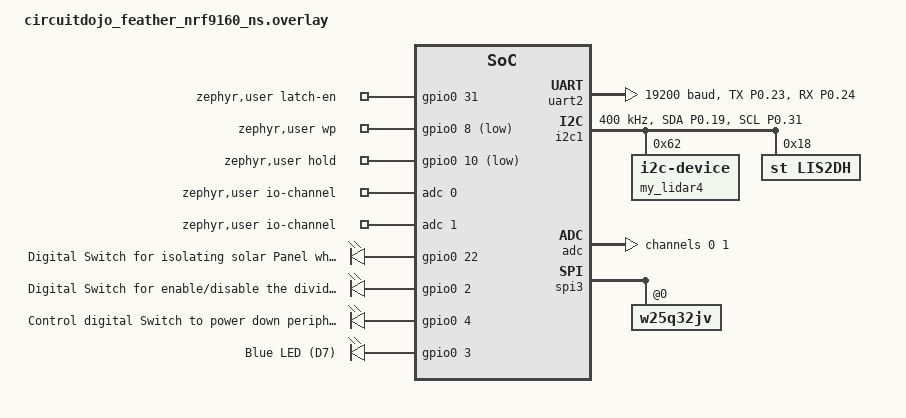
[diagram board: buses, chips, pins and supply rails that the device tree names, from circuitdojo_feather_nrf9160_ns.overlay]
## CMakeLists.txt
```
cmake_minimum_required(VERSION 3.20.0)
find_package(Zephyr REQUIRED HINTS $ENV{ZEPHYR_BASE})

project(flute_iridium_lidar)

include_directories("include/")

target_include_directories(app PRIVATE src)

target_sources(app PRIVATE 
                        src/main.c src/iridium_uart.c src/astar_diurnal.c src/switch_opencircuit.c 
                        src/read_Vpv.c src/read_Vcap.c src/read_Vsupply.c 
                        src/switch_Vpv_divider.c src/switch_peripheral_power.c
                        src/i2c_sensor4.c src/lowpower.c 
                        )
```

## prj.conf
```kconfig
# Stacks and heaps
CONFIG_MAIN_STACK_SIZE=8192
CONFIG_HEAP_MEM_POOL_SIZE=16384
CONFIG_WATCHDOG=n

CONFIG_BOOTLOADER_MCUBOOT=y

CONFIG_REBOOT=y
CONFIG_DEBUG=n
CONFIG_NEWLIB_LIBC=y
CONFIG_NEWLIB_LIBC_FLOAT_PRINTF=y

CONFIG_GPIO=y
CONFIG_ADC=y
CONFIG_ADC_NRFX_SAADC=y

# Add the accelerometer
CONFIG_SENSOR=y
CONFIG_LIS2DH=y

CONFIG_I2C=y
CONFIG_CBPRINTF_FP_SUPPORT=y

CONFIG_LIS2DH_TRIGGER_GLOBAL_THREAD=y
CONFIG_LIS2DH_ODR_RUNTIME=y

CONFIG_SPI=y
CONFIG_SPI_NOR=y
CONFIG_SPI_NOR_FLASH_LAYOUT_PAGE_SIZE=4096
CONFIG_SPI_NOR_IDLE_IN_DPD=y

CONFIG_UART_ASYNC_API=y

CONFIG_FLASH=y
CONFIG_FLASH_MAP=y
CONFIG_FLASH_PAGE_LAYOUT=y

CONFIG_LOG=y
CONFIG_CBPRINTF_FP_SUPPORT=y
CONFIG_NEWLIB_LIBC=y
CONFIG_SERIAL=y
CONFIG_UART_CONSOLE=y
CONFIG_LOG_BACKEND_UART=y
CONFIG_SERIAL=y
# Async UART (required for uart_callback_set / uart_tx / uart_rx_enable)
CONFIG_UART_ASYNC_API=y
# CONFIG_LOG_PRINTK=n

# To print LOG messages immediately
CONFIG_LOG_BACKEND_UART_ASYNC=n      # Force sync UART for logs
CONFIG_LOG_MODE_IMMEDIATE=y          # Process logs immediately (for debugging)
# Explicitly set INF level
CONFIG_LOG_DEFAULT_LEVEL=3
CONFIG_LOG=y
# CONFIG_LOG_MODE_DEFERRED=n
# CONFIG_LOG_PROCESS_THREAD=y
# CONFIG_LOG_PROCESS_THREAD_STACK_SIZE=2048      

CONFIG_PM_DEVICE=y

# Network
CONFIG_NETWORKING=y
CONFIG_NET_SOCKETS=y
CONFIG_NET_NATIVE=n
CONFIG_NET_SOCKETS_OFFLOAD=y

# Modem library
CONFIG_NRF_MODEM_LIB=y
CONFIG_NRF_MODEM_LIB_TRACE=n

# LTE link control
CONFIG_LTE_LINK_CONTROL=y

# PSM & eDRX enable
CONFIG_LTE_EDRX_REQ=y
CONFIG_LTE_PSM_REQ=y

# ***************** Ultra low power from Circuit Dojo - S ***********************   
# CONFIG_DEBUG=n
# Add the accelerometer
# CONFIG_I2C=y
# CONFIG_SENSOR=y
# CONFIG_LIS2DH=y
CONFIG_LIS2DH_TRIGGER_GLOBAL_THREAD=y
CONFIG_LIS2DH_ODR_RUNTIME=y

# SPI Flash
# CONFIG_SPI=y
CONFIG_SPI_NOR=y
CONFIG_SPI_NOR_FLASH_LAYOUT_PAGE_SIZE=4096
CONFIG_SPI_NOR_IDLE_IN_DPD=y

# Enable flash operations.
CONFIG_FLASH=y
CONFIG_FLASH_MAP=y
CONFIG_FLASH_PAGE_LAYOUT=y

# CONFIG_LOG=y
# CONFIG_LOG_MODE_DEFERRED=y
# CONFIG_LOG_PROCESS_THREAD=y
# CONFIG_LOG_PROCESS_THREAD_STACK_SIZE=2048

# CONFIG_UART_CONSOLE=y
# CONFIG_LOG_BACKEND_UART=y
# CONFIG_SERIAL=y
# CONFIG_LOG_PRINTK=n

# Zephyr Device Power Management
CONFIG_PM_DEVICE=y
# CONFIG_PM=y

# Network
# CONFIG_NETWORKING=y
# CONFIG_NET_SOCKETS=y
# CONFIG_NET_NATIVE=n
CONFIG_NET_SOCKETS_POSIX_NAMES=y

# LTE link control
# CONFIG_LTE_LINK_CONTROL=y

# Modem library
# CONFIG_NRF_MODEM_LIB=y
CONFIG_NRF_MODEM_LIB_TRACE=n

# PSM & eDRX enable
CONFIG_LTE_EDRX_REQ=y
CONFIG_LTE_PSM_REQ=y

# Async
# CONFIG_UART_ASYNC_API=y
CONFIG_UART_LINE_CTRL=y

# Enable Zephyr application to be booted by MCUboot
# CONFIG_BOOTLOADER_MCUBOOT=y
CONFIG_IMG_MANAGER=y
CONFIG_STREAM_FLASH=y
CONFIG_MCUBOOT_IMG_MANAGER=y
CONFIG_IMG_ERASE_PROGRESSIVELY=y
# ***************** Ultra low power from Circuit Dojo - E ***********************
```

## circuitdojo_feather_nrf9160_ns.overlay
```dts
// =============================================================================================================
// *************************** Iridium: uart2 -  - S **************************
&pinctrl {
    uart2_default: uart2_default {
        group1 {
                psels = <NRF_PSEL(UART_TX, 0, 23)>,            // Blue
                        <NRF_PSEL(UART_RX, 0, 24)>;            // Green
        };
    };

    uart2_sleep: uart2_sleep {
        group1 {
                psels = <NRF_PSEL(UART_TX, 0, 23)>,            // Blue
                        <NRF_PSEL(UART_RX, 0, 24)>;            // Green
                low-power-enable;
        };
    };
};

&uart2{
    status = "okay";
    current-speed = <19200>;  // Iridium 9603 baud rate is 19200bps

    pinctrl-0 = <&uart2_default>;
    pinctrl-1 = <&uart2_sleep>;
    pinctrl-names = "default", "sleep";
};
// *************************** Iridium: uart2 - E **************************


//=============================================================================================================
// *************************** LiDar Sensor 40m - S **************************
&pinctrl {
    i2c1_default: i2c1_default {
        group1 {
                psels = <NRF_PSEL(TWIM_SDA, 0, 19)>,            // Blue
                        <NRF_PSEL(TWIM_SCL, 0, 31)>;            // Green
        };
    };

    i2c1_sleep: i2c1_sleep {
        group1 {
                psels = <NRF_PSEL(TWIM_SDA, 0, 19)>,            // Blue
                        <NRF_PSEL(TWIM_SCL, 0, 31)>;            // Green
                low-power-enable;
        };
    };
};

&i2c1{
    status = "okay";
    clock-frequency = <I2C_BITRATE_FAST>;           // This sensor works at the speed of 400kHz
    pinctrl-0 = <&i2c1_default>;
    pinctrl-1 = <&i2c1_sleep>;
    pinctrl-names = "default", "sleep";

    my_lidar4:lidar@62 {                            //v- 0x62 is the address of slave I2C sensor (datasheet)
        compatible = "i2c-device";
        reg = <0x62>;                               //v- 0x62 is the address of slave I2C sensor (datasheet)
    };
};
// *************************** LiDar Sensor 40m - E **************************


/* ======================================================================== */
//*************************** ADC Config. for READING Vpv - S **************************
/ {
	zephyr,user {
		io-channels = <&adc 0>, <&adc 1>;
	};
};

&adc {
	#address-cells = <1>;
	#size-cells = <0>;
    
	channel@0 {
		reg = <0>;
		zephyr,gain = "ADC_GAIN_1_6";
		zephyr,reference = "ADC_REF_INTERNAL";
		zephyr,acquisition-time = <ADC_ACQ_TIME_DEFAULT>;
		zephyr,input-positive = <NRF_SAADC_AIN0>;
		zephyr,resolution = <14>;
	};

	channel@1 {
		reg = <1>;
		zephyr,gain = "ADC_GAIN_1_6";
		zephyr,reference = "ADC_REF_INTERNAL";
		zephyr,acquisition-time = <ADC_ACQ_TIME_DEFAULT>;
		zephyr,input-positive = <NRF_SAADC_AIN1>; // P0.04
		zephyr,resolution = <14>;
	};
};

//********************  ADC Config. for READING Vpv - E **********************



//**************** Turn OFF DS isolating the solar panel when V > Vmax or measuring Vsolar (S2) *****************
/{    
    OpenCircuit_sw{
		compatible = "gpio-leds";
        label = "Digital Switch for isolating solar Panel";
		OpenCircuit: pv_pannel_switch{
			gpios = <&gpio0 22 (GPIO_PULL_UP | GPIO_ACTIVE_HIGH)>;
            label = "Digital Switch for isolating solar Panel when V > Vmax";
		};
    };

    aliases {
        opencircuit = &OpenCircuit;
    };
};
//***************** Turn OFF DS isolating the solar panel when V > Vmax or measuring Vsolar (S2) - E ****************


//********************* Enable/Disable the divider of V_solar reading (S1) - S ******************** 
/{  
    Vpv_divider_sw{
		compatible = "gpio-leds";
        label = "Digital Switch for enabling/disabling the divider of V_solar reading";
		divider: Vpv_divider_sw{
            gpios = <&gpio0 2 GPIO_ACTIVE_HIGH>;
			label = "Digital Switch for enable/disable the divider of V_solar reading";
		};
    };
    
    aliases {
        vpvdividersw = &divider;
    };
};
//***************** Enable/Disable the divider of V_solar reading (S1) - E ******************


// *************************** Control digital Switch to power down peripherals - S3 **************************
/{    
    peripheral_power_sw{
		compatible = "gpio-leds";
        label = "Control digital Switch to power down peripherals";
		PERIPH_SW: peripheral_power_sw {
			gpios = <&gpio0 4 (GPIO_PULL_DOWN | GPIO_ACTIVE_HIGH)>;            // Pin 4; High level when pin is set
			label = "Control digital Switch to power down peripherals";
		};
    };
    
    aliases {
        periphsw = &PERIPH_SW;                  // Switch for powering down peripherals
    };
};
// *************************** Control digital Switch to power down peripherals - S3 **************************



// ******************** Ultra Low power (Circuit Dojo's) - S ********************
/{
    zephyr,user {
        latch-en-gpios = <&gpio0 31 GPIO_ACTIVE_HIGH>;
        wp-gpios = < &gpio0 8 GPIO_ACTIVE_LOW >;
        hold-gpios = < &gpio0 10 GPIO_ACTIVE_LOW >;
    };

    leds {
        compatible = "gpio-leds";
        blue_led: led_0 {
            // gpios = <&gpio0 3 GPIO_ACTIVE_HIGH>;
            gpios = <&gpio0 3 GPIO_PULL_DOWN>;
            label = "Blue LED (D7)";
        };
    };
};
    
// Turn off GPIO0 when sleeping - reduce by 150uA
&gpio0 {
    sense-edge-mask = <0xffff>;
};

// Isolate sdo and sa0 pins - reduce leakage current of around 140uA 
&i2c1 {
    lis2dh@18 {
        compatible = "st,lis2dh";
        reg = <0x18>;
        disconnect-sdo-sa0-pull-up;
    };
};
    
&spi3 {
    w25q32jv: w25q32jv@0 {
        /delete-property/ wp-gpios;
        /delete-property/ hold-gpios;
        t-enter-dpd = < 3500 >;
        t-exit-dpd = < 3500 >;
    };
};
// Stop - ******************** Ultra Low power (Circuit Dojo's) - E ********************
```

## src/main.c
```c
/*
 * main.c — Iridium satellite modem application entry point.
 *
 * Frame format (10 bytes):
 *   [0-1]:  Sleep time (16-bit big-endian)
 *   [2-3]:  Vcap (16-bit big-endian)
 *   [4-5]:  Vpv (16-bit big-endian)
 *   [6-7]:  Sensor reading (16-bit big-endian)
 *   [8-9]:  Signal quality from modem (16-bit big-endian)
 *
 * Total: 10 bytes of data (no checksum - modem adds its own)
 */

#include <zephyr/device.h>
#include <zephyr/devicetree.h>
#include <zephyr/kernel.h>
#include <zephyr/sys/util.h>
#include <zephyr/drivers/gpio.h>
#include <zephyr/sys/reboot.h>
#include <zephyr/logging/log.h>
#include <stdlib.h>
#include <inttypes.h>
#include <stddef.h>
#include <stdint.h>
#include <zephyr/sys/byteorder.h>

// Modem libraries for Low power
#include <modem/lte_lc.h>
#include <modem/nrf_modem_lib.h>

#include "config.h"
#include "astar_diurnal.h"
#include "read_Vcap.h"
#include "read_Vsupply.h"
#include "switch_Vpv_divider.h"
#include "switch_opencircuit.h"
#include "switch_peripheral_power.h"
#include "lowpower.h"
#include "i2c_sensor4.h"
#include "iridium_uart.h"

LOG_MODULE_REGISTER(iridium_main, LOG_LEVEL_INF);

const bool ENABLE_PRINT = true;

static uint16_t distance;
static uint16_t newV;
static uint32_t sleep_duration;
static uint16_t Vpv;

uint8_t frame[FRAME_SIZE];
static const iridium_t *satellite;
static void build_frame(uint8_t *frame);

// ---------------------------------------------------------------------------
// AsTAR++ Configuration
// ---------------------------------------------------------------------------
/**
 * @brief AsTAR++ algorithm configuration parameters.
 *
 * Modify these values to tune the algorithm for your specific hardware and
 * application requirements.
 */
static const astar_config_t astar_params = {
    .USE_BOOST = false,

    .maxVoltage               = 5100,
    .shutOffVoltage           = 3300,
    .daytimeOptimumV          = 4900,
    .OpenCircuitVoltage       = 5400,
    .wakeup_Vpv_Threshold     = 4000,
    .sleep_Vpv_Threshold      = 3800,
    .check_overVcap_threshold = 3900,

    .maxRate                        = 120,
    .minRate                        = 7200,
    .nighttimeMaxRate               = 120,
    .LowVolt_SleepTime              = 7200,
    .daily_initial_wakeup_SleepTime = 600,
    .daily_initial_sleep_SleepTime  = 300,

    .nightDurationRollingEstimate = 40000,
    .safe_floor_margin = 115,  // 15% above shutoff voltage to prevent brown-out
};

// ---------------------------------------------------------------------------
// Overvoltage Protection Thread
// ---------------------------------------------------------------------------
#define OVER_V_STACK_SIZE 2048
#define OVER_V_PRIORITY   4
K_THREAD_DEFINE(over_v_id, OVER_V_STACK_SIZE, overV_protection_thread,
                NULL, NULL, NULL, OVER_V_PRIORITY, 0, 0);

// ---------------------------------------------------------------------------
// Modem -Rail Protection                                                      
// ---------------------------------------------------------------------------
/**
 * @brief /* modem_rail_mutex is defined in astar_diurnal.c and declared extern in
 * astar_diurnal.h.  Hold it while calling modem_transmitData() so the overV
 * thread cannot reconnect the solar panel, leading to unstable rail current, 
 * during a transmission. */
 */
// K_MUTEX_DEFINE(modem_rail_mutex);

/* -------------------------------------------------------------------------
 * Main entry point
 * ---------------------------------------------------------------------- */
int main(void)
{   
    if (ENABLE_PRINT)
        LOG_INF("Entering main function .....");

    // ── Low-power peripheral setup ────────────────────────────────────────
    lowpower_setup_gpio();
    lowpower_setup_accel();
    // lowpower_setup_uart0_DIS();

    // ── AsTAR++ initialisation ────────────────────────────────────────────
    astar_init(&astar_params);

    // ── GPIO checks ───────────────────────────────────────────────────────
    if (check_gpio_sw_opencircuit()) {
        if (ENABLE_PRINT)
            LOG_INF("Open-circuit switch GPIO not found in Devicetree");
        k_sleep(K_FOREVER);
    }

    if (check_gpio_Vpv_divider()) {
        if (ENABLE_PRINT)
            LOG_INF("Vpv divider switch GPIO not found in Devicetree");
        k_sleep(K_FOREVER);
    }

    if (check_gpio_periph_sw()) {
        if (ENABLE_PRINT)
            LOG_INF("Peripheral power switch GPIO not found in Devicetree");
        k_sleep(K_FOREVER);
    }

    // Disable Vpv divider to save energy during modem connection
    disable_Vpv_divider();
    
    // Init cellular modem - low-power sleep
	nrf_modem_lib_init();
	lte_lc_init();

    // Iridium UART setup
    satellite = iridium_get();

    while (1) {
        //====================================================================
        // 1. Voltage check — deep sleep immediately if Vcap is too low
        //====================================================================
    rerun_astar_after_suspension:
        // Read current Vcap
        newV = astar_safe_read_vcap();
        // Update internal state
        astar_safe_update_vcap(newV);

        if (astar_should_suspend()) {
            setSuspensionHandler();
            goto rerun_astar_after_suspension;
        }

        //====================================================================
        // 2. LiDAR sensor reading
        //====================================================================
        periph_sw_turn_on();
        
        /** @note: 
         *    + When Vcap > 5V, the buck-boost converter works on "buck mode" which
         *      need longer interval of 500ms to stabilize the power rail after turning on switch.
         *    + When Vcap < 5V, the buck-boost converter works on "boost mode" which can stabilize the power rail 
         *      faster after turning on switch (50ms).
         *    + If we do not use the separate 5V buck-boost (we use the built-in buck-boost of nrf9160), a delay 
         *      of 50ms is enough for the power rail to stabilize after turning on switch even at high Vcap 
         *      because the boost converter can quickly ramp up the voltage to 5V.
        */
        // if ((astar_get_vcap_mv() > 4900) && (astar_get_vpv_mv() > 4500))
        if (astar_get_vcap_mv() > 4900)
            k_sleep(K_MSEC(600));
        k_sleep(K_MSEC(100));
        
        distance = lidar_read_water_level();
        // periph_sw_turn_off();

        //========================================================================
        // 3. Iridium UART setup
        //========================================================================
        lowpower_setup_uart2_ENA();
        if (ENABLE_PRINT)
            LOG_INF("Initializing Iridium UART driver...");
        int ret = satellite->uart_init();

        if (ret != 0) {
            LOG_ERR("satellite->uart_init() failed: %d — powering down and retrying next cycle", ret);
            satellite->uart_deinit();
            lowpower_setup_uart2_DIS();
            periph_sw_turn_off();
            k_sleep(K_SECONDS(sleep_duration > 0 ? sleep_duration : astar_params.minRate));
            continue;
        }

        if (ENABLE_PRINT)
            LOG_INF("Iridium UART driver initialized successfully");

        //====================================================================
        // 4. AsTAR++ scheduler
        //====================================================================
        if (ENABLE_PRINT)
            LOG_INF("Running AsTAR++ scheduler...");
        sleep_duration = schedule();

        //====================================================================
        // 5. Prepare data frame
        //====================================================================
        Vpv = astar_get_vpv_mv();
        build_frame(frame);
        
        //====================================================================
        // 6. Prepare data frame and transmit it to server
        //====================================================================
        // k_mutex_lock(&modem_rail_mutex, K_FOREVER);
        satellite->send_binary(frame, FRAME_SIZE);
        // k_mutex_unlock(&modem_rail_mutex);

        //====================================================================
        // 7. Control charging based on Vpv and open-circuit voltage
        //====================================================================
        // Reconnect solar only when Vcap is below the opencircuit threshold because we disable it before reading Vpv
        // ONLY DO THIS AFTER sending data to avoid the inrush current issue when reconnecting solar panel at high Vpv
        
        if (newV > astar_get_open_circuit_voltage())
            disable_charging();
        else
            enable_charging();

        //====================================================================
        // 8. Power down peripherals and suspend UART before sleep
        //====================================================================
        satellite->uart_deinit();      /* stop async RX cleanly before PM suspend */
        lowpower_setup_uart2_DIS();
        periph_sw_turn_off();
        
        //====================================================================
        // 9. Deep sleep
        //====================================================================
        if (ENABLE_PRINT)
            LOG_INF("Sleeping for %d s", sleep_duration);
        k_sleep(K_SECONDS(sleep_duration));    
        // k_sleep(K_FOREVER);  // Sleep indefinitely after one transmission for testing
    }

    return 0;
}



/*==========================================================================================================*/
/* -------------------------------------------------------------------------
 * Frame helpers
 * ---------------------------------------------------------------------- */

/* Reads sensor and signal quality, packs all values into the 10-byte
 * big-endian frame that will be transmitted to the satellite. */
static void build_frame(uint8_t *frame)
{
    int signal_quality = satellite->get_rssi();
    if (signal_quality < 0 || signal_quality > 99) {
        LOG_WRN("Invalid signal quality %d, using 99", signal_quality);
        signal_quality = 99;
    }

    uint16_t sleep_time_be = sys_cpu_to_be16((uint16_t)sleep_duration);
    uint16_t vcap_be       = sys_cpu_to_be16((uint16_t)newV);
    uint16_t vpv_be        = sys_cpu_to_be16((uint16_t)Vpv);
    uint16_t sensor_be     = sys_cpu_to_be16((uint16_t)distance);
    uint16_t signal_be     = sys_cpu_to_be16((uint16_t)signal_quality);

    frame[0] = (uint8_t)(sleep_time_be >> 8);
    frame[1] = (uint8_t)(sleep_time_be & 0xFF);
    frame[2] = (uint8_t)(vcap_be >> 8);
    frame[3] = (uint8_t)(vcap_be & 0xFF);
    frame[4] = (uint8_t)(vpv_be >> 8);
    frame[5] = (uint8_t)(vpv_be & 0xFF);
    frame[6] = (uint8_t)(sensor_be >> 8);
    frame[7] = (uint8_t)(sensor_be & 0xFF);
    frame[8] = (uint8_t)(signal_be >> 8);
    frame[9] = (uint8_t)(signal_be & 0xFF);

    if (ENABLE_PRINT) {
        LOG_INF("Frame built (%u bytes):", FRAME_SIZE);
        LOG_INF("  Sleep_time: %u sec", sleep_duration);
        LOG_INF("  Vcap:       %u mV", newV);
        LOG_INF("  Vpv:        %u mV", Vpv);
        LOG_INF("  Sensor:     %u", distance);
        LOG_INF("  Signal:     %d", signal_quality);
        LOG_DBG("Frame bytes:");
        LOG_DBG("  [0-4]: 0x%02X 0x%02X 0x%02X 0x%02X 0x%02X",
                frame[0], frame[1], frame[2], frame[3], frame[4]);
        LOG_DBG("  [5-9]: 0x%02X 0x%02X 0x%02X 0x%02X 0x%02X",
                frame[5], frame[6], frame[7], frame[8], frame[9]);
    }
}
```

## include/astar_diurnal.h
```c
//=============================================================================#
/**
 * @brief: AsTAR++ Algorithm
 *
 * Energy-adaptive task scheduling algorithm for battery-free IoT devices.
 * All internal state is encapsulated - access through provided functions only.
 */
//=============================================================================#

#ifndef APPLICATION_ASTAR_DIURNAL_H
#define APPLICATION_ASTAR_DIURNAL_H

#include <stdint.h>
#include <stdbool.h>

// ---------------------------------------------------------------------------#
// Configuration Structure                                                    #
// ---------------------------------------------------------------------------#

typedef struct {
    // Voltage thresholds (mV)
    uint16_t maxVoltage;              // Maximum allowable capacitor voltage
    uint16_t shutOffVoltage;          // Voltage to suspend system (above brown-out)
    uint16_t daytimeOptimumV;         // Target voltage during daytime
    uint16_t OpenCircuitVoltage;      // Voltage to disconnect solar panel
    uint16_t wakeup_Vpv_Threshold;    // Vpv threshold to enter daytime mode
    uint16_t sleep_Vpv_Threshold;     // Vpv threshold to enter nighttime mode
    uint16_t check_overVcap_threshold;// Vcap threshold to check overvoltage

    // Timing parameters (seconds)
    uint32_t maxRate;                 // Minimum sleep interval (fastest rate)
    uint32_t minRate;                 // Maximum sleep interval (slowest rate)
    uint32_t nighttimeMaxRate;        // Minimum sleep interval at night
    uint16_t LowVolt_SleepTime;       // Sleep time when voltage is critical
    uint32_t daily_initial_wakeup_SleepTime;  // Sleep time at first daily wakeup
    uint32_t daily_initial_sleep_SleepTime;   // Sleep time at first daily sleep
    uint32_t nightDurationRollingEstimate;    // Initial EWMA night duration estimate

    // Hardware configuration
    bool USE_BOOST;                   // true if using boost converter
} astar_config_t;

// ---------------------------------------------------------------------------#
// Initialization Functions                                                   #
// ---------------------------------------------------------------------------#

/**
 * @brief Initialize AsTAR with provided configuration
 * @param config Pointer to configuration structure
 */
void astar_init(const astar_config_t *config);

// ---------------------------------------------------------------------------#
// Core Functions                                                             #
// ---------------------------------------------------------------------------#

/**
 * @brief Update the current capacitor voltage reading
 * @param vcap_mv Capacitor voltage in millivolts
 */
uint16_t astar_safe_read_vcap(void);
void astar_safe_update_vcap(uint16_t vcap_mv);

/**
 * @brief Check if system should suspend due to low voltage
 * @return true if Vcap <= shutOffVoltage
 */
bool astar_should_suspend(void);

/**
 * @brief Handle low-voltage suspension
 */
void setSuspensionHandler(void);

/**
 * @brief Run scheduler to compute next sleep interval
 * @return Recommended sleep duration in seconds
 */
uint32_t schedule(void);

/**
 * @brief Overvoltage protection thread function
 */
void overV_protection_thread(void);

// ---------------------------------------------------------------------------#
// Accessor Functions (read-only access to internal state)                    #
// ---------------------------------------------------------------------------#

// Runtime state accessors
uint16_t astar_get_vcap_mv(void);
uint16_t astar_get_vpv_mv(void);
uint32_t astar_get_sleep_timer(void);
bool astar_is_nighttime(void);
uint32_t astar_get_time_since_sunset(void);

// Configuration accessors
uint16_t astar_get_max_voltage(void);
uint16_t astar_get_shutoff_voltage(void);
uint16_t astar_get_open_circuit_voltage(void);
uint32_t astar_get_max_rate(void);
uint32_t astar_get_min_rate(void);
uint32_t astar_get_night_duration_estimate(void);
bool astar_get_use_boost(void);

#endif  /*APPLICATION_ASTAR_DIURNAL_H*/
```

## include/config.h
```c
//=============================================================================#
/**
 * @brief: Global Runtime Configuration
 *
 * Controls global runtime flags, currently the logging/print enable flag.
 */
//=============================================================================#

#ifndef APPLICATION_ENABLE_PRINT
#define APPLICATION_ENABLE_PRINT

extern const bool ENABLE_PRINT;

#endif /*APPLICATION_ENABLE_PRINT*/
```

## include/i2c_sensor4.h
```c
#ifndef APPLICATION_I2C_SENSOR4_H_
#define APPLICATION_I2C_SENSOR4_H_

#include <zephyr/drivers/i2c.h>

// ---------------------------------------------------------------------------
// I2C address and register map
// ---------------------------------------------------------------------------
#define LIDARLITE_ADDR_DEFAULT  0x62   /* default I2C address of LiDAR Lite */
#define LIDAR4_CONFIG_REG       0x03   /* sensor configuration register      */
#define LIDAR4_HIGH_REG         0x0f   /* distance high byte                 */
#define LIDAR4_LOW_REG          0x10   /* distance low byte                  */

// ---------------------------------------------------------------------------
// Buffer size constants  (must stay in sync with the UDP server)
// ---------------------------------------------------------------------------
#define RAW_READING_NUMBERS       100  /* total samples per measurement pass */
#define RAW_READING_NUMBERS_SENT   10  /* samples included in UDP frame      */

// ---------------------------------------------------------------------------
// Public API — low-level primitives
// ---------------------------------------------------------------------------
int8_t  check_i2c_access(void);
int8_t  get_nodeID_i2c(void);
int8_t  pre_conf(int8_t mode);       /* select sensor operating mode        */
int16_t take_range(void);            /* trigger a distance measurement      */
uint8_t getBusyFlag(void);
void    waitForBusy(void);
int8_t  config_lidar(void);          /* I2C check + pre_conf(7)             */
int16_t readDistance(void);          /* read two-byte distance result       */
int16_t distance_data_Func(void);    /* waitForBusy→take_range→readDistance */

// ---------------------------------------------------------------------------
// Public API — high-level acquisition
// ---------------------------------------------------------------------------

/**
 * @brief Acquire, average, and validate a water-level reading from the LiDAR.
 *
 * @param buff_sent  Output array of RAW_READING_NUMBERS_SENT uint16_t values.
 *                
 * @return           Calibrated mean water level in cm.
 */
uint16_t lidar_read_water_level(void);

#endif /* APPLICATION_I2C_SENSOR4_H_ */
```

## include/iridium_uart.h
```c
/*
 * iridium_uart.h — UART transport layer for Iridium 9602/9603 modem
 *
 * SEMAPHORE VERSION — Event-driven approach with zero polling overhead.
 *
 * Uses semaphores to block threads until responses arrive, eliminating
 * the need for periodic polling loops. The UART callback signals the
 * semaphore immediately when a complete response is detected.
 *
 * Hardware: nRF9160, Iridium module on uart2 (19 200 baud, set in overlay).
 */

#ifndef IRIDIUM_UART_H
#define IRIDIUM_UART_H

#include <stdbool.h>
#include <stddef.h>
#include <stdint.h>
#include <zephyr/kernel.h>

#ifdef __cplusplus
extern "C" {
#endif

/* -------------------------------------------------------------------------
 * Application configuration
 * ---------------------------------------------------------------------- */

/** Pause between transmission cycles (milliseconds). */
#define CYCLE_INTERVAL_MS    300000

/** AT basic command timeout (seconds). */
#define TIMEOUT_AT_S         5

/** AT+SBDWB timeout (seconds). */
#define TIMEOUT_SBDWB_S      5

/** AT+SBDIX timeout (seconds) — satellite acquisition can be slow. */
#define TIMEOUT_SBDIX_S      60     // 120

/** Data frame size (bytes). */
#define FRAME_SIZE           10U

/* -------------------------------------------------------------------------
 * Constants
 * ---------------------------------------------------------------------- */

/** Maximum AT command length including the trailing CR (bytes). */
#define IRIDIUM_CMD_MAX_LEN          128U

/** Maximum accumulated response length (bytes). */
#define IRIDIUM_RESP_MAX_LEN         512U

/**
 * Maximum binary SBD payload (data only, excluding the 2-byte checksum).
 * The Iridium SBD protocol supports up to 340 bytes.
 */
#define IRIDIUM_SBD_MAX_BINARY_LEN   340U

/* -------------------------------------------------------------------------
 * Return / result codes
 * ---------------------------------------------------------------------- */

/**
 * @brief  Result of any Iridium modem operation.
 */
typedef enum {
    IRIDIUM_OK       =  0,      /**< Operation succeeded.                   */
    IRIDIUM_ERROR    = -1,      /**< Modem returned ERROR.                  */
    IRIDIUM_TIMEOUT  = -2,      /**< No response within the timeout.        */
    IRIDIUM_TX_FAIL  = -3,      /**< Failed to transmit over UART.          */
    IRIDIUM_INIT_ERR = -4,      /**< Driver initialisation failure.         */
    IRIDIUM_BAD_ARG  = -5,      /**< Invalid argument (NULL / out-of-range).*/
    IRIDIUM_CHKSUM      = -6,   /**< Modem rejected binary checksum.        */
    IRIDIUM_NO_NETWORK  = -7,   /**< SBDIX MO status: no network service.   */
} iridium_result_t;

/* -------------------------------------------------------------------------
 * Struct API
 * ---------------------------------------------------------------------- */

/**
 * @brief  Function pointer table for the Iridium modem interface.
 *
 * Obtain a pointer to the singleton instance via iridium_get().
 * Call members with the -> operator:
 *
 *   const iridium_t *satellite = iridium_get();
 *   satellite->uart_init();
 *   satellite->send_text("hello", 60);
 */
typedef struct {
    /** Initialise the UART transport (call once at startup). */
    int              (*uart_init)    (void);

    /** Stop async RX cleanly before PM suspend (call before uart2_DIS). */
    void             (*uart_deinit)  (void);

    /** Send an AT command and block until expected response or timeout. */
    iridium_result_t (*send_cmd)     (const char *cmd,
                                      const char *expected_resp,
                                      int         timeout_s);

    /** Load binary payload into SBD TX buffer via AT+SBDWB. */
    iridium_result_t (*sbd_write)    (const uint8_t *data,
                                      size_t         len,
                                      int            timeout_s);

    /** Initiate satellite SBD exchange via AT+SBDIX. */
    iridium_result_t (*sbd_initiate) (int timeout_s);

    /** Query RSSI via AT+CSQ. Returns 0-31, or 99 if unknown. */
    int              (*get_rssi)     (void);

    /** Retrieve 15-digit IMEI via AT+CGSN into buf (>= 16 bytes). */
    int              (*get_imei)     (char *buf, size_t buf_len);

    /** Convert a result code to a human-readable string. */
    const char      *(*result_str)   (iridium_result_t result);

    /** Load text via AT+SBDWT and initiate satellite exchange. */
    iridium_result_t (*send_text)    (const char *msg, int timeout_s);

    /** AT check then write frame to modem and initiate exchange. */
    void             (*send_binary)  (const uint8_t *frame, size_t len);
} iridium_t;

/**
 * @brief  Return a pointer to the singleton Iridium interface.
 *
 * Usage:
 *   const iridium_t *satellite = iridium_get();
 *   satellite->uart_init();
 *
 * @return  Pointer to the static iridium_t instance; never NULL.
 */
const iridium_t *iridium_get(void);
void iridium_uart_deinit(void);

#ifdef __cplusplus
}
#endif

#endif /* IRIDIUM_UART_H */
```

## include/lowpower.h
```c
/*
 * Copyright (c) 2018-2019 Peter Bigot Consulting, LLC
 *
 * SPDX-License-Identifier: Apache-2.0
 */

#ifndef APPLICATION_LOWPOWER_H_
#define APPLICATION_LOWPOWER_H_

/**
 * @file lowpower.h
 *
 * @brief Header file for low power management functions and configurations
 *
 * This file contains function prototypes and definitions related to low power
 * management, including GPIO setup and peripheral control for nrf9160.
 *
 * The low power management includes:
 * - Configuring GPIOs for power path control
 * - Disabling unused peripherals to reduce power consumption
 *
*/

/* Gpios */
static const struct gpio_dt_spec sw0 = GPIO_DT_SPEC_GET(DT_ALIAS(sw0), gpios);
static const struct gpio_dt_spec led0 = GPIO_DT_SPEC_GET(DT_ALIAS(led0), gpios);
static const struct gpio_dt_spec latch_en = GPIO_DT_SPEC_GET(DT_PATH(zephyr_user), latch_en_gpios);

static const struct gpio_dt_spec wp = GPIO_DT_SPEC_GET(DT_PATH(zephyr_user), wp_gpios);
static const struct gpio_dt_spec hold = GPIO_DT_SPEC_GET(DT_PATH(zephyr_user), hold_gpios);


void lowpower_setup_accel(void);
int8_t lowpower_setup_gpio(void);
int8_t lowpower_setup_uart0_DIS(void);      // Disable UART0
int8_t lowpower_setup_uart0_ENA(void);      // Enable UART0
int8_t lowpower_setup_uart2_DIS(void);      // Disable UART2
int8_t lowpower_setup_uart2_ENA(void);      // Enable UART2

#endif /* APPLICATION_LOWPOWER_H_ */
```

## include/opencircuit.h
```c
//=============================================================================#
/**
 * @brief: Solar Panel Charging Control
 *
 * Controls the digital switch that connects or disconnects the solar panel
 * from the storage capacitor. Stops charging when Vcap exceeds Vmax to
 * protect the system from overvoltage.
 */
//=============================================================================#


#ifndef APPICATION_OPEN_CIRCUIT_H
#define APPICATION_OPEN_CIRCUIT_H

#include <stdbool.h>
#include <stdint.h>

int8_t check_gpio_sw_opencircuit(void);

// Turn on the Digital Switch to connect solar panels to charge the Caps
void enable_charging(void);

// Turn off the Digital Switch to isolate solar panels from the Caps
void disable_charging(void);

// Query current charging state
bool is_charging_enabled(void);

#endif  /*APPICATION_OPEN_CIRCUIT_H*/
```

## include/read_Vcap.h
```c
//=============================================================================#
/**
 * @brief: Read Voltage of the super-capacitor
 *
 * This module provides functions to initialize and read the supercapacitor
 * voltage using the nRF ADC (SAADC) on AIN1.
 *
 * @note: Vcap != Vsupply when using a boost converter
 */
//=============================================================================#

#ifndef APPICATION_READ_VCAP_H_
#define APPICATION_READ_VCAP_H_

#include <stdint.h>

/**
 * @brief Initialize the Vcap ADC
 * @return 0 on success, -1 on failure
 */
int8_t Vcap_init(void);

/**
 * @brief Read the supercapacitor voltage
 * @return Voltage in millivolts (average of 5 samples)
 */
uint16_t read_Vcap_mv(void);

#endif /*APPICATION_READ_VCAP_H_*/
```

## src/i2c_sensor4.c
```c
#include <inttypes.h>
#include <stddef.h>
#include <stdint.h>
#include <stdlib.h>

#include <zephyr/device.h>
#include <zephyr/devicetree.h>
#include <zephyr/kernel.h>
#include <zephyr/sys/util.h>
#include <zephyr/drivers/gpio.h>
#include <zephyr/drivers/uart.h>
#include <zephyr/drivers/i2c.h>
#include <zephyr/logging/log.h>

#include "i2c_sensor4.h"
#include "config.h"


LOG_MODULE_REGISTER(i2c_sensor4);  

static int8_t  ret;
static uint16_t distance;

uint8_t sigCountMax     = 0;
uint8_t acqConfigReg    = 0;
uint8_t refCountMax     = 0;
uint8_t thresholdBypass = 0;
uint8_t ACQ_COMMAND     = 0;


// ===========================================================================
// I2C Initialisation
// ===========================================================================

#define I2C2_NODE DT_NODELABEL(my_lidar4)
static const struct i2c_dt_spec dev_i2c = I2C_DT_SPEC_GET(I2C2_NODE);

int8_t check_i2c_access(void)
{
    if (ENABLE_PRINT)
        LOG_INF("LIDAR_Lite_v3HP - Checking I2C DT access...");
    if (!device_is_ready(dev_i2c.bus)) {
        LOG_ERR("LIDAR_Lite_v3HP - I2C bus %s is not ready!", dev_i2c.bus->name);
        return 1;
    }
    return 0;
}


// ===========================================================================
// Sensor Configuration
// ===========================================================================

int8_t pre_conf(int8_t mode)
{
    if (ENABLE_PRINT)
        LOG_INF("LIDAR_Lite_v3HP - Choose the Sensor Mode ...");
    switch (mode)
    {
        case 0: // Default mode, balanced performance
            sigCountMax     = 0x80;
            acqConfigReg    = 0x08;
            thresholdBypass = 0x00;
            break;

        case 1: // Short range, high speed
            sigCountMax     = 0x1d;
            acqConfigReg    = 0x08;
            thresholdBypass = 0x00;
            break;

        case 2: // Default range, higher speed short range
            sigCountMax     = 0x80;
            acqConfigReg    = 0x00;
            thresholdBypass = 0x00;
            break;

        case 3: // Maximum range
            sigCountMax     = 0xff;
            acqConfigReg    = 0x08;
            thresholdBypass = 0x00;
            break;

        case 4: // High sensitivity detection, high erroneous measurements
            sigCountMax     = 0x80;
            acqConfigReg    = 0x08;
            thresholdBypass = 0x80;
            break;

        case 5: // Low sensitivity detection, low erroneous measurements
            sigCountMax     = 0x80;
            acqConfigReg    = 0x08;
            thresholdBypass = 0xb0;
            break;

        case 6: // Short range, high speed, higher error
            sigCountMax     = 0x04;
            acqConfigReg    = 0x01;
            thresholdBypass = 0x00;
            break;

        case 7: // Custom — low sensitivity, low erroneous measurements
            sigCountMax     = 0xff;  // REG0x02: max sample count
            acqConfigReg    = 0x0C;  // REG0x04: enables REF count register
            refCountMax     = 0xff;  // REG0x12: max reference acquisitions
            thresholdBypass = 0x99;  // EXCELLENT: error +-4 cm
            ACQ_COMMAND     = 0x04;  // REG0x00: acquisition with bias correction
            break;
    }

    // Write sigCountMax → register 0x02
    char buff1[] = {0x02, sigCountMax};
    ret = i2c_write_dt(&dev_i2c, buff1, sizeof(buff1));
    if (ret != 0) {
        LOG_ERR("LIDAR_Lite_v3HP - Failed to write addr %x reg %x", dev_i2c.addr, buff1[0]);
        return 1;
    }

    // Write acqConfigReg → register 0x04
    char buff2[] = {0x04, acqConfigReg};
    ret = i2c_write_dt(&dev_i2c, buff2, sizeof(buff2));
    if (ret != 0) {
        LOG_ERR("LIDAR_Lite_v3HP - Failed to write addr %x reg %x", dev_i2c.addr, buff2[0]);
        return 1;
    }

    // Write refCountMax → register 0x12
    char buff3[] = {0x12, refCountMax};
    ret = i2c_write_dt(&dev_i2c, buff3, sizeof(buff3));
    if (ret != 0) {
        LOG_ERR("LIDAR_Lite_v3HP - Failed to write addr %x reg %x", dev_i2c.addr, buff3[0]);
        return 1;
    }

    // Write thresholdBypass → register 0x1c
    char buff4[] = {0x1c, thresholdBypass};
    ret = i2c_write_dt(&dev_i2c, buff4, sizeof(buff4));
    if (ret != 0) {
        LOG_ERR("LIDAR_Lite_v3HP - Failed to write addr %x reg %x", dev_i2c.addr, buff4[0]);
        return 1;
    }

    return 0;
}


// ===========================================================================
// Low-level Measurement Primitives
// ===========================================================================

int16_t take_range(void)
{
    char buff5[] = {0x00, ACQ_COMMAND};
    ret = i2c_write_dt(&dev_i2c, buff5, sizeof(buff5));
    if (ret != 0) {
        LOG_ERR("LIDAR_Lite_v3HP - Failed to write addr %x reg %x", dev_i2c.addr, buff5[0]);
        return 1;
    }
    return 0;
}

uint8_t getBusyFlag(void)
{
    uint8_t busy_flag           = 1;
    uint8_t busyFlag[1]         = {0};
    uint8_t busyFlag_regs[1]    = {0x01};

    ret = i2c_write_read_dt(&dev_i2c, &busyFlag_regs[0], 1, &busyFlag[0], 1);
    if (ret != 0) {
        LOG_ERR("LIDAR_Lite_v3HP - Failed to write/read addr %x reg %x",
               dev_i2c.addr, busyFlag_regs[0]);
    }
    busy_flag = busyFlag[0] & 0x01;
    return busy_flag;
}

void waitForBusy(void)
{
    uint16_t busyCounter = 0;
    uint8_t  check_flag  = 1;
    while (check_flag) {
        if (busyCounter > 9999) break;
        check_flag = getBusyFlag();
        busyCounter++;
    }
    if (busyCounter > 9999)
        LOG_ERR(">>>> timeout of waitForBusy()");
}

int16_t readDistance(void)
{
    uint8_t distance_reading[2] = {0};
    uint8_t sensor_regs[2]      = {LIDAR4_LOW_REG, LIDAR4_HIGH_REG};

    ret = i2c_write_read_dt(&dev_i2c, &sensor_regs[0], 1, &distance_reading[0], 1);
    if (ret != 0) {
        LOG_ERR("LIDAR_Lite_v3HP - Failed to write/read addr %x reg %x",
               dev_i2c.addr, sensor_regs[0]);
        return -1;
    }
    ret = i2c_write_read_dt(&dev_i2c, &sensor_regs[1], 1, &distance_reading[1], 1);
    if (ret != 0) {
        LOG_ERR("LIDAR_Lite_v3HP - Failed to write/read addr %x reg %x",
               dev_i2c.addr, sensor_regs[1]);
        return -1;
    }

    distance = (distance_reading[1] << 8) | distance_reading[0];
    return distance;
}

int8_t config_lidar(void)
{
    ret = check_i2c_access();
    if (ret) return -1;
    ret = pre_conf(7);
    if (ret) return -1;
    return 0;
}

int16_t distance_data_Func(void)
{
    int16_t distance_data = 0;
    waitForBusy();
    take_range();
    waitForBusy();
    distance_data = readDistance();
    if (distance_data < 0) {
        LOG_ERR("LIDAR_Lite_v3HP - Failed to read distance data");
        return -1;
    }
    return distance_data;
}


// ===========================================================================
// lidar_read_water_level()
// ===========================================================================

/**
 * @brief Acquire RAW_READING_NUMBERS LiDAR distance readings and return
 *        the calibrated average.
 *
 * @param buff_sent  Output buffer; must be at least RAW_READING_NUMBERS_SENT
 *                   uint16_t entries. Filled with raw readings for transmission.
 * @return           Calibrated mean water level in cm.
 */
uint16_t lidar_read_water_level(void)
{
    /* Persists across calls for outlier detection */
    static uint16_t old_distance = 0;

    /* Local raw sample buffer — no longer a global */
    uint16_t lidar_buff[RAW_READING_NUMBERS];

    int32_t  sum      = 0;
    uint16_t distance_cm = 0;

    
    int8_t ret = config_lidar();
    if (ret < 0) {
        LOG_ERR("LIDAR_Lite_v3HP - Failed to configure LiDAR");
        return 59999;
    }

    memset(lidar_buff, 0, sizeof(lidar_buff));
    for (uint16_t i = 0; i < RAW_READING_NUMBERS; i++) {
        lidar_buff[i] = distance_data_Func();
        k_sleep(K_MSEC(5));
    }

    for (uint16_t n = 0; n < RAW_READING_NUMBERS; n++) {
        sum += lidar_buff[n];
    }
    distance_cm = (sum / RAW_READING_NUMBERS) - 10;  /* -10 cm calibration */

    // ── Outlier rejection: re-measure if jump > 15 cm ────────────────────
    if (abs((int32_t)old_distance - (int32_t)distance_cm) >= 15)
    {
        config_lidar();
        memset(lidar_buff, 0, sizeof(lidar_buff));
        for (uint16_t i = 0; i < RAW_READING_NUMBERS; i++) {
            lidar_buff[i] = distance_data_Func();
            k_sleep(K_MSEC(2));
        }

        sum = 0;
        for (uint16_t n = 0; n < RAW_READING_NUMBERS; n++) {
            sum += lidar_buff[n];
        }
        distance_cm = (sum / RAW_READING_NUMBERS) - 10;
    }

    old_distance = distance_cm;
    if (ENABLE_PRINT)
        LOG_INF("LIDAR_Lite_v3HP - Mean Water Level: %d cm", distance_cm);

    return distance_cm;
}
```

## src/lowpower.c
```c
#include <zephyr/kernel.h>
#include <zephyr/devicetree.h>
#include <zephyr/drivers/sensor.h>
#include <zephyr/drivers/gpio.h>
#include <zephyr/drivers/uart.h>
#include <zephyr/pm/device.h>
#include <zephyr/logging/log.h>

#include <modem/lte_lc.h>
#include <modem/nrf_modem_lib.h>

#include "lowpower.h"
#include "config.h"

LOG_MODULE_REGISTER(lowpower);


static const struct device *const console_dev0 = DEVICE_DT_GET(DT_CHOSEN(zephyr_console));
static const struct device *const console_dev2 = DEVICE_DT_GET(DT_NODELABEL(uart2));

static uint8_t err;

// Disable accel - Reduce 12uA
void lowpower_setup_accel(void)
{
	const struct device *sensor = DEVICE_DT_GET(DT_ALIAS(accel0));

	if (!device_is_ready(sensor))
	{
		LOG_ERR("Could not get accel0 device");
		return;
	}

	// Disable the device
	struct sensor_value odr = {
		.val1 = 0,
	};

	int rc = sensor_attr_set(sensor, SENSOR_CHAN_ACCEL_XYZ,
							 SENSOR_ATTR_SAMPLING_FREQUENCY,
							 &odr);
	if (rc != 0)
	{
		LOG_ERR("Failed to set odr: %d", rc);
		return;
	}
}


// Setup GPIO => help reduce 141uA
int8_t lowpower_setup_gpio(void)
{
	gpio_pin_configure_dt(&sw0, GPIO_DISCONNECTED);
	gpio_pin_configure_dt(&led0, GPIO_DISCONNECTED);
	gpio_pin_configure_dt(&latch_en, GPIO_DISCONNECTED);

	gpio_pin_configure_dt(&wp, GPIO_INPUT | GPIO_PULL_UP);
	gpio_pin_configure_dt(&hold, GPIO_INPUT | GPIO_PULL_UP);

	return 0;
}

//----------------------------------------------------------------------------------------------------#
// Disable UART2 and UART console																	  #
//----------------------------------------------------------------------------------------------------#
// Disable UART console
int8_t lowpower_setup_uart0_DIS(void)
{
	/* Disable console UART */
	err = pm_device_action_run(console_dev0, PM_DEVICE_ACTION_SUSPEND);
	if (err < 0)
	{
		LOG_ERR("Unable to suspend console UART. (err: %d)", err);
		return err;
	}

	/* Turn off to save power (High Speed clock) */
	NRF_CLOCK->TASKS_HFCLKSTOP = 1;

	return 0;
}

// Disable UART2
int8_t lowpower_setup_uart2_DIS(void)
{
	//static const struct device *const console_dev = DEVICE_DT_GET(DT_CHOSEN(zephyr_console));
	/* Disable console UART */
	err = pm_device_action_run(console_dev2, PM_DEVICE_ACTION_SUSPEND);
	if (err < 0)
	{
		LOG_ERR("Unable to suspend UART 2 (err: %d)", err);
		return err;
	}

	/* Turn off to save power (High Speed clock) */
	NRF_CLOCK->TASKS_HFCLKSTOP = 1;
	
	return 0;
}


//----------------------------------------------------------------------------------------------------#
// Enable UART2 and UART console																	  #
//----------------------------------------------------------------------------------------------------#
// Enable UART0
int8_t lowpower_setup_uart0_ENA(void)
{
	// Enable UART2 by using Power Management Subsystem  
    err = pm_device_action_run(console_dev0, PM_DEVICE_ACTION_RESUME);
    if (err < 0)
    {
      LOG_ERR("Unable to RESUME console UART (err: %d)", err);
	  return err;
    }

	// // Enable UART3 by using Register Accesses
    // NRF_UARTE0_NS->TASKS_STARTTX = 1;
    // NRF_UARTE0_NS->TASKS_STARTRX = 1;
    // NRF_UARTE0_NS->ENABLE = 8;

	return 0;
}

// Enable UART2
int8_t lowpower_setup_uart2_ENA(void)
{
    /* Resume the UART2 device via Zephyr PM — this is sufficient to restore
     * hardware state. The raw register writes that were here previously
     * (TASKS_STARTRX, TASKS_STARTTX, ENABLE) bypassed the Zephyr async UART
     * driver's internal state machine and caused uart_rx_enable() to return
     * -EBUSY on the second cycle. */
    err = pm_device_action_run(console_dev2, PM_DEVICE_ACTION_RESUME);
    if (err < 0)
    {
        LOG_ERR("Unable to RESUME UART2 (err: %d)", err);
        return err;
    }

	// // Enable UART3 by using Register Accesses
    // NRF_UARTE3_NS->TASKS_STARTTX = 1;
    // NRF_UARTE3_NS->TASKS_STARTRX = 1;
    // NRF_UARTE3_NS->ENABLE = 8;

    return 0;
}
```
